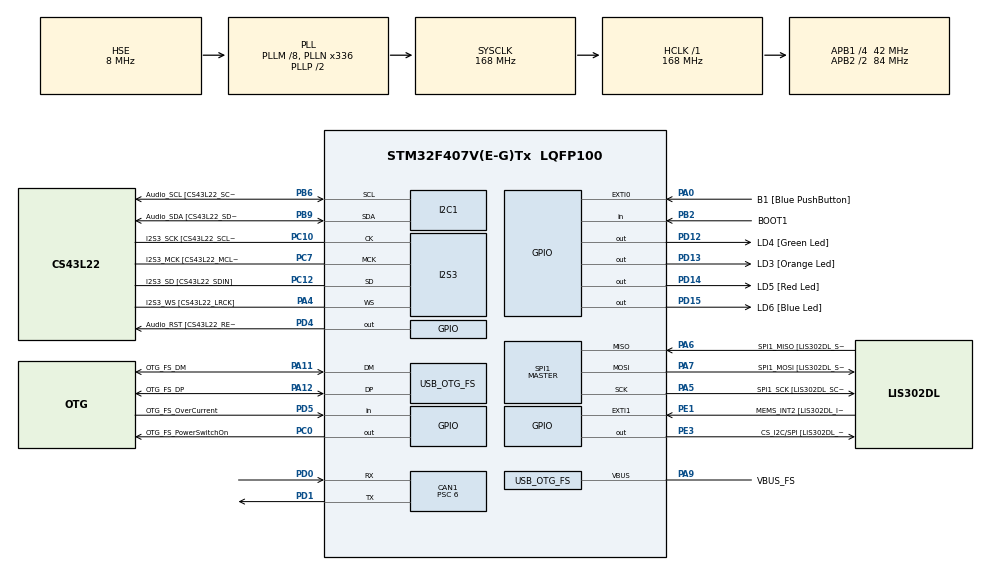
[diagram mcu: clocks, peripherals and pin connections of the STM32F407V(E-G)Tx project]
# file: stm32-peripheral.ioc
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CAN1.ABOM=ENABLE
CAN1.BS1=CAN_BS1_11TQ
CAN1.BS2=CAN_BS2_2TQ
CAN1.CalculateBaudRate=500000
CAN1.CalculateTimeBit=2000
CAN1.CalculateTimeQuantum=142.85714285714286
CAN1.NART=ENABLE
CAN1.Prescaler=6
I2S3.AudioFreq-Half_Duplex_Master=I2S_AUDIOFREQ_96K
I2S3.ErrorAudioFreq=-2.34 %
I2S3.ErrorAudioFreq-Half_Duplex_Master=0.8 %
I2S3.FullDuplexMode=I2S_FULLDUPLEXMODE_DISABLE
I2S3.Instance=SPI$Index
I2S3.RealAudioFreq=93.75 KHz
I2S3.RealAudioFreq-Half_Duplex_Master=96.774 KHz
I2S3.VirtualMode=I2S_MODE_MASTER
Mcu.Family=STM32F4
Mcu.Name=STM32F407V(E-G)Tx
Mcu.Package=LQFP100
NVIC.CAN1_RX0_IRQn=true\:0\:0\:false\:false\:true\:true\:true\:true
NVIC.OTG_FS_IRQn=true\:0\:0\:false\:false\:true\:true\:true\:true
NVIC.PriorityGroup=NVIC_PRIORITYGROUP_0
PA0-WKUP.GPIO_Label=B1 [Blue PushButton]
PA0-WKUP.GPIO_ModeDefaultEXTI=GPIO_MODE_EVT_RISING
PA0-WKUP.GPIO_PuPd=GPIO_NOPULL
PA0-WKUP.Signal=GPXTI0
PA10.GPIO_Label=OTG_FS_ID
PA10.GPIO_Mode=GPIO_MODE_AF_PP
PA10.GPIO_PuPd=GPIO_NOPULL
PA10.GPIO_Speed=GPIO_SPEED_FREQ_LOW
PA10.Signal=USB_OTG_FS_ID
PA11.GPIO_Label=OTG_FS_DM
PA11.GPIO_Mode=GPIO_MODE_AF_PP
PA11.GPIO_PuPd=GPIO_NOPULL
PA11.GPIO_Speed=GPIO_SPEED_FREQ_LOW
PA11.Mode=Device_Only
PA11.Signal=USB_OTG_FS_DM
PA12.GPIO_Label=OTG_FS_DP
PA12.GPIO_Mode=GPIO_MODE_AF_PP
PA12.GPIO_PuPd=GPIO_NOPULL
PA12.GPIO_Speed=GPIO_SPEED_FREQ_LOW
PA12.Mode=Device_Only
PA12.Signal=USB_OTG_FS_DP
PA13.GPIO_Label=SWDIO
PA13.Mode=Serial_Wire
PA13.Signal=SYS_JTMS-SWDIO
PA14.GPIO_Label=SWCLK
PA14.Mode=Serial_Wire
PA14.Signal=SYS_JTCK-SWCLK
PA4.GPIO_Label=I2S3_WS [CS43L22_LRCK]
PA4.GPIO_Mode=GPIO_MODE_AF_PP
PA4.GPIO_PuPd=GPIO_NOPULL
PA4.GPIO_Speed=GPIO_SPEED_FREQ_LOW
PA4.Mode=Half_Duplex_Master
PA4.Signal=I2S3_WS
PA5.GPIO_Label=SPI1_SCK [LIS302DL_SCL/SPC]
PA5.GPIO_Mode=GPIO_MODE_AF_PP
PA5.GPIO_PuPd=GPIO_NOPULL
PA5.GPIO_Speed=GPIO_SPEED_FREQ_LOW
PA5.Mode=Full_Duplex_Master
PA5.Signal=SPI1_SCK
PA6.GPIO_Label=SPI1_MISO [LIS302DL_SDO]
PA6.GPIO_Mode=GPIO_MODE_AF_PP
PA6.GPIO_PuPd=GPIO_NOPULL
PA6.GPIO_Speed=GPIO_SPEED_FREQ_LOW
PA6.Mode=Full_Duplex_Master
PA6.Signal=SPI1_MISO
PA7.GPIO_Label=SPI1_MOSI [LIS302DL_SDA/SDI/SDO]
PA7.GPIO_Mode=GPIO_MODE_AF_PP
PA7.GPIO_PuPd=GPIO_NOPULL
PA7.GPIO_Speed=GPIO_SPEED_FREQ_LOW
PA7.Mode=Full_Duplex_Master
PA7.Signal=SPI1_MOSI
PA9.GPIO_Label=VBUS_FS
PA9.GPIO_Mode=GPIO_MODE_INPUT
PA9.GPIO_PuPd=GPIO_NOPULL
PA9.Mode=Activate_VBUS
PA9.Signal=USB_OTG_FS_VBUS
PB10.GPIO_Label=CLK_IN [MP45DT02_CLK]
PB10.GPIO_Mode=GPIO_MODE_AF_PP
PB10.GPIO_PuPd=GPIO_NOPULL
PB10.GPIO_Speed=GPIO_SPEED_FREQ_LOW
PB10.Signal=I2S2_CK
PB2.GPIO_Label=BOOT1
PB2.GPIO_Mode=GPIO_MODE_INPUT
PB2.GPIO_PuPd=GPIO_NOPULL
PB2.Signal=GPIO_Input
PB3.GPIO_Label=SWO
PB3.Signal=SYS_JTDO-SWO
PB6.GPIO_Label=Audio_SCL [CS43L22_SCL]
PB6.GPIO_Mode=GPIO_MODE_AF_OD
PB6.GPIO_Pu=GPIO_PULLUP
PB6.GPIO_PuPd=GPIO_NOPULL
PB6.GPIO_Speed=GPIO_SPEED_FREQ_LOW
PB6.Mode=I2C
PB6.Signal=I2C1_SCL
PB9.GPIO_Label=Audio_SDA [CS43L22_SDA]
PB9.GPIO_Mode=GPIO_MODE_AF_OD
PB9.GPIO_Pu=GPIO_PULLUP
PB9.GPIO_PuPd=GPIO_NOPULL
PB9.GPIO_Speed=GPIO_SPEED_FREQ_LOW
PB9.Mode=I2C
PB9.Signal=I2C1_SDA
PC0.GPIO_Label=OTG_FS_PowerSwitchOn
PC0.GPIO_PuPd=GPIO_NOPULL
PC0.GPIO_Speed=GPIO_SPEED_FREQ_LOW
PC0.PinState=GPIO_PIN_SET
PC0.Signal=GPIO_Output
PC10.GPIO_Label=I2S3_SCK [CS43L22_SCLK]
PC10.GPIO_Mode=GPIO_MODE_AF_PP
PC10.GPIO_PuPd=GPIO_NOPULL
PC10.GPIO_Speed=GPIO_SPEED_FREQ_LOW
PC10.Mode=Half_Duplex_Master
PC10.Signal=I2S3_CK
PC12.GPIO_Label=I2S3_SD [CS43L22_SDIN]
PC12.GPIO_Mode=GPIO_MODE_AF_PP
PC12.GPIO_PuPd=GPIO_NOPULL
PC12.GPIO_Speed=GPIO_SPEED_FREQ_LOW
PC12.Mode=Half_Duplex_Master
PC12.Signal=I2S3_SD
PC14-OSC32_IN.GPIO_Label=PC14-OSC32_IN
PC14-OSC32_IN.Mode=LSE-External-Oscillator
PC14-OSC32_IN.Signal=RCC_OSC32_IN
PC15-OSC32_OUT.GPIO_Label=PC15-OSC32_OUT
PC15-OSC32_OUT.Mode=LSE-External-Oscillator
PC15-OSC32_OUT.Signal=RCC_OSC32_OUT
PC3.GPIO_Label=PDM_OUT [MP45DT02_DOUT]
PC3.GPIO_Mode=GPIO_MODE_AF_PP
PC3.GPIO_PuPd=GPIO_NOPULL
PC3.GPIO_Speed=GPIO_SPEED_FREQ_LOW
PC3.Signal=I2S2_SD
PC7.GPIO_Label=I2S3_MCK [CS43L22_MCLK]
PC7.GPIO_Mode=GPIO_MODE_AF_PP
PC7.GPIO_PuPd=GPIO_NOPULL
PC7.GPIO_Speed=GPIO_SPEED_FREQ_LOW
PC7.Mode=Master_Clock_Activated
PC7.Signal=I2S3_MCK
PD0.Mode=CAN_Activate
PD0.Signal=CAN1_RX
PD1.Mode=CAN_Activate
PD1.Signal=CAN1_TX
PD12.GPIO_Label=LD4 [Green Led]
PD12.GPIO_PuPd=GPIO_NOPULL
PD12.GPIO_Speed=GPIO_SPEED_FREQ_LOW
PD12.Signal=GPIO_Output
PD13.GPIO_Label=LD3 [Orange Led]
PD13.GPIO_PuPd=GPIO_NOPULL
PD13.GPIO_Speed=GPIO_SPEED_FREQ_LOW
PD13.Signal=GPIO_Output
PD14.GPIO_Label=LD5 [Red Led]
PD14.GPIO_PuPd=GPIO_NOPULL
PD14.GPIO_Speed=GPIO_SPEED_FREQ_LOW
PD14.Signal=GPIO_Output
PD15.GPIO_Label=LD6 [Blue Led]
PD15.GPIO_PuPd=GPIO_NOPULL
PD15.GPIO_Speed=GPIO_SPEED_FREQ_LOW
PD15.Signal=GPIO_Output
PD4.GPIO_Label=Audio_RST [CS43L22_RESET]
PD4.GPIO_PuPd=GPIO_NOPULL
PD4.GPIO_Speed=GPIO_SPEED_FREQ_LOW
PD4.Signal=GPIO_Output
PD5.GPIO_Label=OTG_FS_OverCurrent
PD5.GPIO_Mode=GPIO_MODE_INPUT
PD5.GPIO_PuPd=GPIO_NOPULL
PD5.Signal=GPIO_Input
PE1.GPIO_Label=MEMS_INT2 [LIS302DL_INT2]
PE1.GPIO_ModeDefaultEXTI=GPIO_MODE_EVT_RISING
PE1.GPIO_PuPd=GPIO_NOPULL
PE1.Signal=GPXTI1
PE3.GPIO_Label=CS_I2C/SPI [LIS302DL_CS_I2C/SPI]
PE3.GPIO_PuPd=GPIO_NOPULL
PE3.GPIO_Speed=GPIO_SPEED_FREQ_LOW
PE3.Signal=GPIO_Output
PH0-OSC_IN.GPIO_Label=PH0-OSC_IN
PH0-OSC_IN.Mode=HSE-External-Oscillator
PH0-OSC_IN.Signal=RCC_OSC_IN
PH1-OSC_OUT.GPIO_Label=PH1-OSC_OUT
PH1-OSC_OUT.Mode=HSE-External-Oscillator
PH1-OSC_OUT.Signal=RCC_OSC_OUT
ProjectManager.HeapSize=0x200
ProjectManager.StackSize=0x400
ProjectManager.TargetToolchain=STM32CubeIDE
RCC.48MHZClocksFreq_Value=48000000
RCC.AHBFreq_Value=168000000
RCC.APB1CLKDivider=RCC_HCLK_DIV4
RCC.APB1Freq_Value=42000000
RCC.APB1TimFreq_Value=84000000
RCC.APB2CLKDivider=RCC_HCLK_DIV2
RCC.APB2Freq_Value=84000000
RCC.APB2TimFreq_Value=168000000
RCC.CortexFreq_Value=168000000
RCC.HCLKFreq_Value=168000000
RCC.HSE_VALUE=8000000
RCC.HSI_VALUE=16000000
RCC.PLLM=8
RCC.PLLN=336
RCC.PLLQ=7
RCC.SYSCLKFreq_VALUE=168000000
RCC.SYSCLKSource=RCC_SYSCLKSOURCE_PLLCLK
RCC.VCOOutputFreq_Value=336000000
SPI1.BaudRatePrescaler-Full_Duplex_Master=SPI_BAUDRATEPRESCALER_2
SPI1.CalculateBaudRate-Full_Duplex_Master=42.0 MBits/s
SPI1.Direction=SPI_DIRECTION_2LINES
SPI1.Mode=SPI_MODE_MASTER
SPI1.Mode-Full_Duplex_Master=SPI_MODE_MASTER
SPI1.VirtualType=VM_MASTER
USB_DEVICE.CLASS_NAME_FS=CDC
USB_DEVICE.VirtualMode-CDC_FS=Cdc
USB_DEVICE.VirtualModeFS=Cdc_FS
USB_OTG_FS.VirtualMode=Device_Only
VP_USB_DEVICE_VS_USB_DEVICE_CDC_FS.Mode=CDC_FS
board=STM32F407G-DISC1

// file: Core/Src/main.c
/* USER CODE BEGIN Header */
/**
  ******************************************************************************
  * @file           : main.c
  * @brief          : Main program body
  ******************************************************************************
  * @attention
  *
  * Copyright (c) 2026 STMicroelectronics.
  * All rights reserved.
  *
  * This software is licensed under terms that can be found in the LICENSE file
  * in the root directory of this software component.
  * If no LICENSE file comes with this software, it is provided AS-IS.
  *
  ******************************************************************************
  */
/* USER CODE END Header */
#include "main.h"
#include "usb_device.h"

/* USER CODE BEGIN Includes */
#include "can_protocol.h"
#include "usbd_cdc_if.h"
#include <stdio.h>
/* USER CODE END Includes */

/* USER CODE BEGIN PD */
#define COUNTER_PERIOD_MS  1000   // le compteur augmente de 1 à chaque seconde
/* USER CODE END PD */

CAN_HandleTypeDef hcan1;

I2C_HandleTypeDef hi2c1;

I2S_HandleTypeDef hi2s3;

SPI_HandleTypeDef hspi1;

/* USER CODE BEGIN PV */
volatile uint32_t rx_id = 0;      // identifiant reçu
volatile uint8_t  rx_dlc = 0;     // nombre d'octets reçus
volatile uint8_t  rx_data[8];     // données reçues
volatile uint8_t  rx_flag = 0;    // 1 = nouvelle trame à traiter
volatile uint32_t rx_count = 0;   // nombre de trames reçues (debug)

static uint16_t counter = 0;        // compteur 16 bits demandé par le labo (étape 7)
static uint32_t counter_tick = 0;   // instant (ms) du dernier incrément
/* USER CODE END PV */

void SystemClock_Config(void);
static void MX_GPIO_Init(void);
static void MX_I2C1_Init(void);
static void MX_I2S3_Init(void);
static void MX_SPI1_Init(void);
static void MX_CAN1_Init(void);
/* USER CODE BEGIN PFP */
static HAL_StatusTypeDef CAN_SendAck(uint8_t code);
static HAL_StatusTypeDef CAN_SendCounter(uint16_t value);
/* USER CODE END PFP */

int main(void)
{

  /* MCU Configuration--------------------------------------------------------*/

  /* Reset of all peripherals, Initializes the Flash interface and the Systick. */
  HAL_Init();

  /* Configure the system clock */
  SystemClock_Config();

  /* Initialize all configured peripherals */
  MX_GPIO_Init();
  MX_I2C1_Init();
  MX_I2S3_Init();
  MX_SPI1_Init();
  MX_CAN1_Init();
  MX_USB_DEVICE_Init();
  /* USER CODE BEGIN 2 */
  CAN_FilterTypeDef filtre;
  filtre.FilterBank = 0;
  filtre.FilterMode = CAN_FILTERMODE_IDLIST;           // liste d'identifiants exacts
  filtre.FilterScale = CAN_FILTERSCALE_32BIT;          // 32 bits : 2 identifiants par banque
  filtre.FilterIdHigh = (CAN_ID_LED_CMD << 5);         // ID n°1 = 0x100 (StdId dans les bits 15..5)
  filtre.FilterIdLow = 0x0000;                         // IDE = 0 (standard), RTR = 0 (données)
  filtre.FilterMaskIdHigh = (CAN_ID_VALUE_REQ << 5);   // ID n°2 = 0x101 (en mode liste, ce n'est pas un masque)
  filtre.FilterMaskIdLow = 0x0000;                     // IDE = 0 (standard), RTR = 0 (données)
  filtre.FilterFIFOAssignment = CAN_RX_FIFO0;
  filtre.FilterActivation = ENABLE;
  filtre.SlaveStartFilterBank = 14;

  if (HAL_CAN_ConfigFilter(&hcan1, &filtre) != HAL_OK) Error_Handler();
  if (HAL_CAN_Start(&hcan1) != HAL_OK) Error_Handler();
  if (HAL_CAN_ActivateNotification(&hcan1, CAN_IT_RX_FIFO0_MSG_PENDING) != HAL_OK) Error_Handler();
  /* USER CODE END 2 */

  /* Infinite loop */
  while (1)
  {

	  /* USER CODE BEGIN 3 */
	      // 0) Incrément périodique du compteur (non bloquant, sans HAL_Delay)
	      if (HAL_GetTick() - counter_tick >= COUNTER_PERIOD_MS)
	      {
	        counter_tick = HAL_GetTick();
	        counter++;                      // uint16_t : revient à 0 après 65535
	      }

	      if (rx_flag)
	      {
	        // 1) Copie de la trame reçue
	        __disable_irq();
	        uint32_t id  = rx_id;
	        uint8_t  dlc = rx_dlc;
	        uint32_t n   = rx_count;
	        uint8_t  d[8];
	        for (uint8_t i = 0; i < dlc; i++) d[i] = rx_data[i];
	        rx_flag = 0;
	        __enable_irq();

	        // 2) Affichage de la trame reçue
	        char msg[160];
	        int len = sprintf(msg, "#%lu  RX ID=0x%03lX  DLC=%u  DATA=", n, id, dlc);
	        for (uint8_t i = 0; i < dlc; i++)
	        {
	          len += sprintf(msg + len, "%02X ", d[i]);
	        }

	        // 3) Traitement de la commande LED (0x100)
	        if (id == CAN_ID_LED_CMD)
	        {
	          uint8_t ack = ACK_OK;

	          if (dlc >= 1 && d[0] == LED_ON)
	          {
	            HAL_GPIO_WritePin(LD4_GPIO_Port, LD4_Pin, GPIO_PIN_SET);    // LED verte ON
	            len += sprintf(msg + len, " -> LED ON");
	          }
	          else if (dlc >= 1 && d[0] == LED_OFF)
	          {
	            HAL_GPIO_WritePin(LD4_GPIO_Port, LD4_Pin, GPIO_PIN_RESET);  // LED verte OFF
	            len += sprintf(msg + len, " -> LED OFF");
	          }
	          else
	          {
	            ack = ACK_ERROR;    // DLC = 0 ou valeur autre que 0x00 / 0x01
	            len += sprintf(msg + len, " -> commande invalide");
	          }

	          // 4) Envoi de l'ACK 0x210
	          if (CAN_SendAck(ack) == HAL_OK)
	            len += sprintf(msg + len, " | TX ID=0x210 ACK=%02X", ack);
	          else
	            len += sprintf(msg + len, " | ERREUR envoi ACK");
	        }
	        // 3b) Demande de valeur (0x101) -> réponse 0x201 avec le compteur
	        else if (id == CAN_ID_VALUE_REQ)
	        {
	          uint16_t value = counter;     // copie : la valeur envoyée = la valeur affichée

	          if (CAN_SendCounter(value) == HAL_OK)
	            len += sprintf(msg + len, " -> TX ID=0x201 DATA=%02X %02X (valeur=%u)",
	                           (uint8_t)(value >> 8), (uint8_t)(value & 0xFF), value);
	          else
	            len += sprintf(msg + len, " -> ERREUR envoi 0x201");
	        }

	        len += sprintf(msg + len, "\r\n");

	        // 5) Envoi vers PuTTY
	        uint32_t t0 = HAL_GetTick();
	        while (CDC_Transmit_FS((uint8_t*)msg, len) == USBD_BUSY
	               && (HAL_GetTick() - t0) < 10);
	      }
	    }
	    /* USER CODE END 3 */
}

void SystemClock_Config(void)
{
  RCC_OscInitTypeDef RCC_OscInitStruct = {0};
  RCC_ClkInitTypeDef RCC_ClkInitStruct = {0};

  /** Configure the main internal regulator output voltage
  */
  __HAL_RCC_PWR_CLK_ENABLE();
  __HAL_PWR_VOLTAGESCALING_CONFIG(PWR_REGULATOR_VOLTAGE_SCALE1);

  /** Initializes the RCC Oscillators according to the specified parameters
  * in the RCC_OscInitTypeDef structure.
  */
  RCC_OscInitStruct.OscillatorType = RCC_OSCILLATORTYPE_HSE;
  RCC_OscInitStruct.HSEState = RCC_HSE_ON;
  RCC_OscInitStruct.PLL.PLLState = RCC_PLL_ON;
  RCC_OscInitStruct.PLL.PLLSource = RCC_PLLSOURCE_HSE;
  RCC_OscInitStruct.PLL.PLLM = 8;
  RCC_OscInitStruct.PLL.PLLN = 336;
  RCC_OscInitStruct.PLL.PLLP = RCC_PLLP_DIV2;
  RCC_OscInitStruct.PLL.PLLQ = 7;
  if (HAL_RCC_OscConfig(&RCC_OscInitStruct) != HAL_OK)
  {
    Error_Handler();
  }

  /** Initializes the CPU, AHB and APB buses clocks
  */
  RCC_ClkInitStruct.ClockType = RCC_CLOCKTYPE_HCLK|RCC_CLOCKTYPE_SYSCLK
                              |RCC_CLOCKTYPE_PCLK1|RCC_CLOCKTYPE_PCLK2;
  RCC_ClkInitStruct.SYSCLKSource = RCC_SYSCLKSOURCE_PLLCLK;
  RCC_ClkInitStruct.AHBCLKDivider = RCC_SYSCLK_DIV1;
  RCC_ClkInitStruct.APB1CLKDivider = RCC_HCLK_DIV4;
  RCC_ClkInitStruct.APB2CLKDivider = RCC_HCLK_DIV2;

  if (HAL_RCC_ClockConfig(&RCC_ClkInitStruct, FLASH_LATENCY_5) != HAL_OK)
  {
    Error_Handler();
  }
}

static void MX_CAN1_Init(void)
{

  hcan1.Instance = CAN1;
  hcan1.Init.Prescaler = 6;
  hcan1.Init.Mode = CAN_MODE_NORMAL;
  hcan1.Init.SyncJumpWidth = CAN_SJW_1TQ;
  hcan1.Init.TimeSeg1 = CAN_BS1_11TQ;
  hcan1.Init.TimeSeg2 = CAN_BS2_2TQ;
  hcan1.Init.TimeTriggeredMode = DISABLE;
  hcan1.Init.AutoBusOff = ENABLE;
  hcan1.Init.AutoWakeUp = DISABLE;
  hcan1.Init.AutoRetransmission = ENABLE;
  hcan1.Init.ReceiveFifoLocked = DISABLE;
  hcan1.Init.TransmitFifoPriority = DISABLE;
  if (HAL_CAN_Init(&hcan1) != HAL_OK)
  {
    Error_Handler();
  }

}

static void MX_I2C1_Init(void)
{

  hi2c1.Instance = I2C1;
  hi2c1.Init.ClockSpeed = 100000;
  hi2c1.Init.DutyCycle = I2C_DUTYCYCLE_2;
  hi2c1.Init.OwnAddress1 = 0;
  hi2c1.Init.AddressingMode = I2C_ADDRESSINGMODE_7BIT;
  hi2c1.Init.DualAddressMode = I2C_DUALADDRESS_DISABLE;
  hi2c1.Init.OwnAddress2 = 0;
  hi2c1.Init.GeneralCallMode = I2C_GENERALCALL_DISABLE;
  hi2c1.Init.NoStretchMode = I2C_NOSTRETCH_DISABLE;
  if (HAL_I2C_Init(&hi2c1) != HAL_OK)
  {
    Error_Handler();
  }

}

static void MX_I2S3_Init(void)
{

  hi2s3.Instance = SPI3;
  hi2s3.Init.Mode = I2S_MODE_MASTER_TX;
  hi2s3.Init.Standard = I2S_STANDARD_PHILIPS;
  hi2s3.Init.DataFormat = I2S_DATAFORMAT_16B;
  hi2s3.Init.MCLKOutput = I2S_MCLKOUTPUT_ENABLE;
  hi2s3.Init.AudioFreq = I2S_AUDIOFREQ_96K;
  hi2s3.Init.CPOL = I2S_CPOL_LOW;
  hi2s3.Init.ClockSource = I2S_CLOCK_PLL;
  hi2s3.Init.FullDuplexMode = I2S_FULLDUPLEXMODE_DISABLE;
  if (HAL_I2S_Init(&hi2s3) != HAL_OK)
  {
    Error_Handler();
  }

}

static void MX_SPI1_Init(void)
{

  /* SPI1 parameter configuration*/
  hspi1.Instance = SPI1;
  hspi1.Init.Mode = SPI_MODE_MASTER;
  hspi1.Init.Direction = SPI_DIRECTION_2LINES;
  hspi1.Init.DataSize = SPI_DATASIZE_8BIT;
  hspi1.Init.CLKPolarity = SPI_POLARITY_LOW;
  hspi1.Init.CLKPhase = SPI_PHASE_1EDGE;
  hspi1.Init.NSS = SPI_NSS_SOFT;
  hspi1.Init.BaudRatePrescaler = SPI_BAUDRATEPRESCALER_2;
  hspi1.Init.FirstBit = SPI_FIRSTBIT_MSB;
  hspi1.Init.TIMode = SPI_TIMODE_DISABLE;
  hspi1.Init.CRCCalculation = SPI_CRCCALCULATION_DISABLE;
  hspi1.Init.CRCPolynomial = 10;
  if (HAL_SPI_Init(&hspi1) != HAL_OK)
  {
    Error_Handler();
  }

}

static void MX_GPIO_Init(void)
{
  GPIO_InitTypeDef GPIO_InitStruct = {0};

  /* GPIO Ports Clock Enable */
  __HAL_RCC_GPIOE_CLK_ENABLE();
  __HAL_RCC_GPIOC_CLK_ENABLE();
  __HAL_RCC_GPIOH_CLK_ENABLE();
  __HAL_RCC_GPIOA_CLK_ENABLE();
  __HAL_RCC_GPIOB_CLK_ENABLE();
  __HAL_RCC_GPIOD_CLK_ENABLE();

  /*Configure GPIO pin Output Level */
  HAL_GPIO_WritePin(CS_I2C_SPI_GPIO_Port, CS_I2C_SPI_Pin, GPIO_PIN_RESET);

  /*Configure GPIO pin Output Level */
  HAL_GPIO_WritePin(OTG_FS_PowerSwitchOn_GPIO_Port, OTG_FS_PowerSwitchOn_Pin, GPIO_PIN_SET);

  /*Configure GPIO pin Output Level */
  HAL_GPIO_WritePin(GPIOD, LD4_Pin|LD3_Pin|LD5_Pin|LD6_Pin
                          |Audio_RST_Pin, GPIO_PIN_RESET);

  /*Configure GPIO pin : CS_I2C_SPI_Pin */
  GPIO_InitStruct.Pin = CS_I2C_SPI_Pin;
  GPIO_InitStruct.Mode = GPIO_MODE_OUTPUT_PP;
  GPIO_InitStruct.Pull = GPIO_NOPULL;
  GPIO_InitStruct.Speed = GPIO_SPEED_FREQ_LOW;
  HAL_GPIO_Init(CS_I2C_SPI_GPIO_Port, &GPIO_InitStruct);

  /*Configure GPIO pin : OTG_FS_PowerSwitchOn_Pin */
  GPIO_InitStruct.Pin = OTG_FS_PowerSwitchOn_Pin;
  GPIO_InitStruct.Mode = GPIO_MODE_OUTPUT_PP;
  GPIO_InitStruct.Pull = GPIO_NOPULL;
  GPIO_InitStruct.Speed = GPIO_SPEED_FREQ_LOW;
  HAL_GPIO_Init(OTG_FS_PowerSwitchOn_GPIO_Port, &GPIO_InitStruct);

  /*Configure GPIO pin : PDM_OUT_Pin */
  GPIO_InitStruct.Pin = PDM_OUT_Pin;
  GPIO_InitStruct.Mode = GPIO_MODE_AF_PP;
  GPIO_InitStruct.Pull = GPIO_NOPULL;
  GPIO_InitStruct.Speed = GPIO_SPEED_FREQ_LOW;
  GPIO_InitStruct.Alternate = GPIO_AF5_SPI2;
  HAL_GPIO_Init(PDM_OUT_GPIO_Port, &GPIO_InitStruct);

  /*Configure GPIO pin : B1_Pin */
  GPIO_InitStruct.Pin = B1_Pin;
  GPIO_InitStruct.Mode = GPIO_MODE_EVT_RISING;
  GPIO_InitStruct.Pull = GPIO_NOPULL;
  HAL_GPIO_Init(B1_GPIO_Port, &GPIO_InitStruct);

  /*Configure GPIO pin : BOOT1_Pin */
  GPIO_InitStruct.Pin = BOOT1_Pin;
  GPIO_InitStruct.Mode = GPIO_MODE_INPUT;
  GPIO_InitStruct.Pull = GPIO_NOPULL;
  HAL_GPIO_Init(BOOT1_GPIO_Port, &GPIO_InitStruct);

  /*Configure GPIO pin : CLK_IN_Pin */
  GPIO_InitStruct.Pin = CLK_IN_Pin;
  GPIO_InitStruct.Mode = GPIO_MODE_AF_PP;
  GPIO_InitStruct.Pull = GPIO_NOPULL;
  GPIO_InitStruct.Speed = GPIO_SPEED_FREQ_LOW;
  GPIO_InitStruct.Alternate = GPIO_AF5_SPI2;
  HAL_GPIO_Init(CLK_IN_GPIO_Port, &GPIO_InitStruct);

  /*Configure GPIO pins : LD4_Pin LD3_Pin LD5_Pin LD6_Pin
                           Audio_RST_Pin */
  GPIO_InitStruct.Pin = LD4_Pin|LD3_Pin|LD5_Pin|LD6_Pin
                          |Audio_RST_Pin;
  GPIO_InitStruct.Mode = GPIO_MODE_OUTPUT_PP;
  GPIO_InitStruct.Pull = GPIO_NOPULL;
  GPIO_InitStruct.Speed = GPIO_SPEED_FREQ_LOW;
  HAL_GPIO_Init(GPIOD, &GPIO_InitStruct);

  /*Configure GPIO pin : OTG_FS_OverCurrent_Pin */
  GPIO_InitStruct.Pin = OTG_FS_OverCurrent_Pin;
  GPIO_InitStruct.Mode = GPIO_MODE_INPUT;
  GPIO_InitStruct.Pull = GPIO_NOPULL;
  HAL_GPIO_Init(OTG_FS_OverCurrent_GPIO_Port, &GPIO_InitStruct);

  /*Configure GPIO pin : MEMS_INT2_Pin */
  GPIO_InitStruct.Pin = MEMS_INT2_Pin;
  GPIO_InitStruct.Mode = GPIO_MODE_EVT_RISING;
  GPIO_InitStruct.Pull = GPIO_NOPULL;
  HAL_GPIO_Init(MEMS_INT2_GPIO_Port, &GPIO_InitStruct);

}

/* USER CODE BEGIN 4 */
void HAL_CAN_RxFifo0MsgPendingCallback(CAN_HandleTypeDef *hcan)
{
  CAN_RxHeaderTypeDef rxHeader;
  uint8_t data[8];

  if (HAL_CAN_GetRxMessage(hcan, CAN_RX_FIFO0, &rxHeader, data) == HAL_OK)
  {
    rx_id  = rxHeader.StdId;
    rx_dlc = rxHeader.DLC;
    for (uint8_t i = 0; i < rx_dlc; i++)
    {
      rx_data[i] = data[i];
    }
    rx_count++;
    rx_flag = 1;
  }
}

static HAL_StatusTypeDef CAN_SendAck(uint8_t code)
{
  CAN_TxHeaderTypeDef txHeader;
  uint8_t  txData[1];
  uint32_t txMailbox;

  txHeader.StdId = CAN_ID_ACK;          // 0x210
  txHeader.ExtId = 0;
  txHeader.IDE   = CAN_ID_STD;          // identifiant standard 11 bits
  txHeader.RTR   = CAN_RTR_DATA;        // trame de données
  txHeader.DLC   = 1;                   // 1 octet : DB0 = code
  txHeader.TransmitGlobalTime = DISABLE;
  txData[0] = code;

  if (HAL_CAN_GetTxMailboxesFreeLevel(&hcan1) == 0)
  {
    return HAL_BUSY;                    // les 3 boîtes d'envoi sont pleines
  }
  return HAL_CAN_AddTxMessage(&hcan1, &txHeader, txData, &txMailbox);
}

static HAL_StatusTypeDef CAN_SendCounter(uint16_t value)
{
  CAN_TxHeaderTypeDef txHeader;
  uint8_t  txData[2];
  uint32_t txMailbox;

  txHeader.StdId = CAN_ID_COUNTER;      // 0x201
  txHeader.ExtId = 0;
  txHeader.IDE   = CAN_ID_STD;
  txHeader.RTR   = CAN_RTR_DATA;
  txHeader.DLC   = 2;                   // 2 octets : uint16 en Big-Endian
  txHeader.TransmitGlobalTime = DISABLE;

  txData[0] = (uint8_t)(value >> 8);    // DB0 = octet de poids fort (MSB)
  txData[1] = (uint8_t)(value & 0xFF);  // DB1 = octet de poids faible (LSB)

  if (HAL_CAN_GetTxMailboxesFreeLevel(&hcan1) == 0)
  {
    return HAL_BUSY;
  }
  return HAL_CAN_AddTxMessage(&hcan1, &txHeader, txData, &txMailbox);
}
/* USER CODE END 4 */

void Error_Handler(void)
{
  __disable_irq();
  while (1)
  {
  }
}
